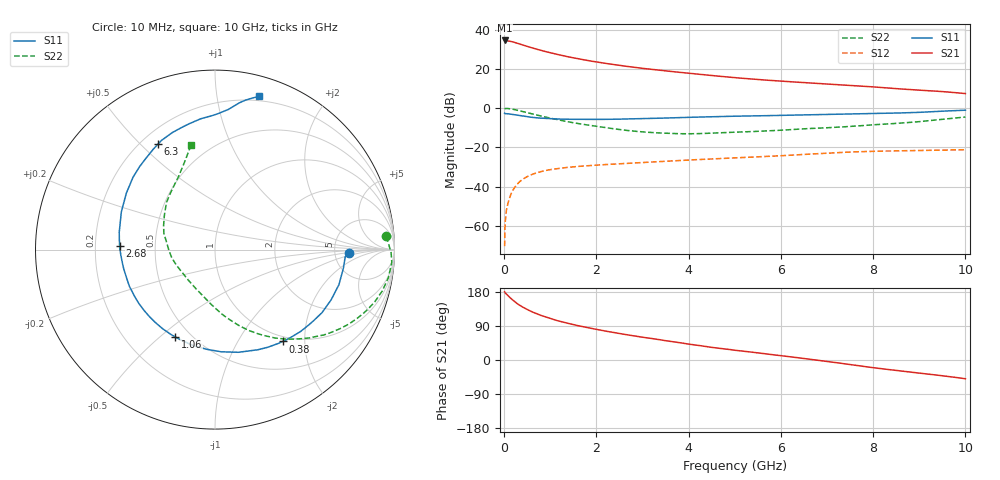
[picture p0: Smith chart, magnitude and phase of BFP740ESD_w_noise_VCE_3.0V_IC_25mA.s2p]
! Infineon Technologies  Discrete & RF Semiconductors
! BFP740ESD
! VCE =  3.0 V,  IC =  25 mA
! Common Emitter S-Parameters:  Jan 2016
# GHz  S  MA  R  50
!  f  S11  S21  S12  S22
! GHz  MAG  ANG  MAG  ANG  MAG  ANG  MAG  ANG
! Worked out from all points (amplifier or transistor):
!   233 points, 10 MHz to 10 GHz, reference 50 ohm
!   highest |S21| = 34.6 dB at 10 MHz (marker M1)
!   |S21| within 3 dB of that: start of sweep to 495.5 MHz
!   unconditionally stable (mu >= 1): start of sweep to 10.38 MHz; 4.392 GHz to 6.982 GHz
!   at 200 MHz: K = 0.17, MSG = 37.6 dB, |S12| = -41.4 dB
!   at 1.74 GHz: K = 0.63, MSG = 27.1 dB, |S12| = -29.5 dB
!   at 10 GHz: K = 0.73, MSG = 14.3 dB, |S12| = -21.2 dB
!   lowest NFmin = 0.88 dB at 450 MHz
!   S11 on the Smith chart (normalised r, x): 10 MHz: 6.82, -0.60; 380 MHz: 0.92, -1.58; 1.06 GHz: 0.41, -0.56; 2.68 GHz: 0.31, +0.02; 6.3 GHz: 0.27, +0.57; 10 GHz: 0.16, +1.31
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0.01  0.7461 -1.5  53.68 180.0  0.0003 97.3  0.9576 4.4
0.02  0.7265 -3.2  52.95 177.3  0.0011 82.8  0.9813 -1.0
0.08  0.7183 -12.7  52.27 170.1  0.0036 84.6  0.9813 -7.1
0.15  0.7049 -23.4  50.66 161.9  0.0065 78.8  0.9596 -14.0
0.195  0.6928 -29.8  49.09 157.2  0.0083 75.4  0.9376 -17.9
0.3  0.6598 -43.8  45.02 147.3  0.012 69.3  0.8801 -25.8
0.38  0.6356 -53.6  41.97 141.2  0.0146 65.1  0.8344 -31.1
0.5  0.6068 -66.9  37.86 133.1  0.0179 60.1  0.7697 -38.2
0.6  0.5869 -77.1  34.88 127.2  0.0203 56.3  0.719 -43.2
0.7  0.5705 -86.5  32.28 122.2  0.0223 52.9  0.6737 -47.8
0.9  0.5479 -103.0  27.91 113.3  0.0256 47.6  0.5937 -56.0
1.06  0.5344 -114.4  25.07 107.3  0.0277 44.3  0.5384 -61.6
1.38  0.5223 -133.5  20.63 96.7  0.0308 39.4  0.4515 -71.5
1.68  0.5187 -147.7  17.63 88.5  0.0331 36.4  0.3923 -79.1
2.2  0.5197 -167.3  13.94 76.2  0.0364 33.1  0.3186 -91.3
2.68  0.5316 177.8  11.62 66.2  0.0391 31.2  0.2694 -103.9
3.4  0.5568 160.3  9.235 53.0  0.0435 29.2  0.2321 -123.8
5.1  0.6271 131.2  5.888 24.5  0.0544 23.7  0.2465 -170.9
6.3  0.6683 118.3  4.663 7.0  0.064 19.2  0.2883 165.6
6.8  0.6864 112.4  4.295 -0.7  0.069 16.3  0.309 157.7
8.4  0.7467 91.2  3.222 -26.1  0.081 2.6  0.4019 128.0
10  0.8888 74.0  2.367 -49.5  0.087 -9.4  0.5963 103.0
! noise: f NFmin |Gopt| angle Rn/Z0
0.45  0.88  0.07  -171  0.16
0.9  0.9  0.09  -160  0.09
1.9  0.94  0.12  -147  0.11
2.4  0.98  0.17  -133  0.12
5.5  1.13  0.34  -114  0.14
10  1.7  0.57  -84  0.59
